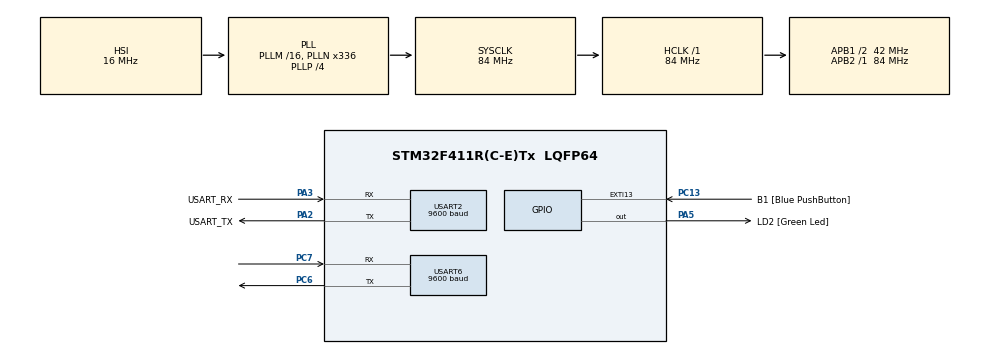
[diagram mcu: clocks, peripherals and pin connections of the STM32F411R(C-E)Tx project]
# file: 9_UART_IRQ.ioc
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Mcu.Family=STM32F4
Mcu.Name=STM32F411R(C-E)Tx
Mcu.Package=LQFP64
NVIC.PriorityGroup=NVIC_PRIORITYGROUP_0
NVIC.USART6_IRQn=true\:0\:0\:false\:false\:true\:true\:true
PA13.GPIO_Label=TMS
PA13.Mode=Serial_Wire
PA13.Signal=SYS_JTMS-SWDIO
PA14.GPIO_Label=TCK
PA14.Mode=Serial_Wire
PA14.Signal=SYS_JTCK-SWCLK
PA2.GPIO_Label=USART_TX
PA2.Mode=Asynchronous
PA2.Signal=USART2_TX
PA3.GPIO_Label=USART_RX
PA3.Mode=Asynchronous
PA3.Signal=USART2_RX
PA5.GPIO_Label=LD2 [Green Led]
PA5.Signal=GPIO_Output
PB3.GPIO_Label=SWO
PB3.Signal=SYS_JTDO-SWO
PC13-ANTI_TAMP.GPIO_Label=B1 [Blue PushButton]
PC13-ANTI_TAMP.GPIO_ModeDefaultEXTI=GPIO_MODE_IT_FALLING
PC13-ANTI_TAMP.Signal=GPXTI13
PC14-OSC32_IN.Mode=LSE-External-Oscillator
PC14-OSC32_IN.Signal=RCC_OSC32_IN
PC15-OSC32_OUT.Mode=LSE-External-Oscillator
PC15-OSC32_OUT.Signal=RCC_OSC32_OUT
PC6.Mode=Asynchronous
PC6.Signal=USART6_TX
PC7.Mode=Asynchronous
PC7.Signal=USART6_RX
PH0\ -\ OSC_IN.Mode=HSE-External-Clock-Source
PH0\ -\ OSC_IN.Signal=RCC_OSC_IN
PH1\ -\ OSC_OUT.Mode=HSE-External-Clock-Source
PH1\ -\ OSC_OUT.Signal=RCC_OSC_OUT
ProjectManager.HeapSize=0x200
ProjectManager.StackSize=0x400
ProjectManager.TargetToolchain=STM32CubeIDE
RCC.48MHZClocksFreq_Value=84000000
RCC.AHBFreq_Value=84000000
RCC.APB1CLKDivider=RCC_HCLK_DIV2
RCC.APB1Freq_Value=42000000
RCC.APB1TimFreq_Value=84000000
RCC.APB2Freq_Value=84000000
RCC.APB2TimFreq_Value=84000000
RCC.CortexFreq_Value=84000000
RCC.FLatency-AdvancedSettings=FLASH_LATENCY_2
RCC.HCLKFreq_Value=84000000
RCC.HSE_VALUE=8000000
RCC.HSI_VALUE=16000000
RCC.PLLN=336
RCC.PLLP=RCC_PLLP_DIV4
RCC.SYSCLKFreq_VALUE=84000000
RCC.SYSCLKSource=RCC_SYSCLKSOURCE_PLLCLK
RCC.VCOOutputFreq_Value=336000000
USART2.BaudRate=9600
USART2.VirtualMode=VM_ASYNC
USART6.BaudRate=9600
USART6.VirtualMode=VM_ASYNC
board=NUCLEO-F411RE

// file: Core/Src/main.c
/* USER CODE BEGIN Header */
/**
  ******************************************************************************
  * @file           : main.c
  * @brief          : Main program body
  ******************************************************************************
  * @attention
  *
  * Copyright (c) 2022 STMicroelectronics.
  * All rights reserved.
  *
  * This software is licensed under terms that can be found in the LICENSE file
  * in the root directory of this software component.
  * If no LICENSE file comes with this software, it is provided AS-IS.
  *
  ******************************************************************************
  */
/* USER CODE END Header */
#include "main.h"
#include "usart.h"
#include "gpio.h"

/* USER CODE BEGIN Includes */
#include <stdio.h>
#include <string.h>
/* USER CODE END Includes */

void SystemClock_Config(void);
//BLABLABLABLA

/* USER CODE BEGIN 0 */
uint8_t cmdBuffer[1];
uint8_t onMsg[] = "Turned LED on\n";
uint8_t offMsg[] = "Turned LED off\n";
uint8_t errorCmd[] = "Invalid input, input 1 or 0\n";
/* USER CODE END 0 */

int main(void)
{

  /* MCU Configuration--------------------------------------------------------*/

  /* Reset of all peripherals, Initializes the Flash interface and the Systick. */
  HAL_Init();

  /* Configure the system clock */
  SystemClock_Config();

  /* Initialize all configured peripherals */
  MX_GPIO_Init();
  MX_USART2_UART_Init();
  MX_USART6_UART_Init();
  /* USER CODE BEGIN 2 */

  //uint8_t ledCmd_On[] = {'O', 'N'};
  //uint8_t ledCmd_Off[] = {'O', 'F', 'F'};
  /* USER CODE END 2 */

  /* Infinite loop */
  while (1)
  {

    /* USER CODE BEGIN 3 */
	  char msg[] = "\rI am working\n";
	  HAL_UART_Transmit(&huart2, (uint8_t*) msg, strlen(msg), HAL_MAX_DELAY);
	  HAL_UART_Transmit(&huart6, (uint8_t*) msg, strlen(msg), HAL_MAX_DELAY);
	  HAL_Delay(200);
  }
  /* USER CODE END 3 */
}

void SystemClock_Config(void)
{
  RCC_OscInitTypeDef RCC_OscInitStruct = {0};
  RCC_ClkInitTypeDef RCC_ClkInitStruct = {0};

  /** Configure the main internal regulator output voltage
  */
  __HAL_RCC_PWR_CLK_ENABLE();
  __HAL_PWR_VOLTAGESCALING_CONFIG(PWR_REGULATOR_VOLTAGE_SCALE1);
  /** Initializes the RCC Oscillators according to the specified parameters
  * in the RCC_OscInitTypeDef structure.
  */
  RCC_OscInitStruct.OscillatorType = RCC_OSCILLATORTYPE_HSI;
  RCC_OscInitStruct.HSIState = RCC_HSI_ON;
  RCC_OscInitStruct.HSICalibrationValue = RCC_HSICALIBRATION_DEFAULT;
  RCC_OscInitStruct.PLL.PLLState = RCC_PLL_ON;
  RCC_OscInitStruct.PLL.PLLSource = RCC_PLLSOURCE_HSI;
  RCC_OscInitStruct.PLL.PLLM = 16;
  RCC_OscInitStruct.PLL.PLLN = 336;
  RCC_OscInitStruct.PLL.PLLP = RCC_PLLP_DIV4;
  RCC_OscInitStruct.PLL.PLLQ = 4;
  if (HAL_RCC_OscConfig(&RCC_OscInitStruct) != HAL_OK)
  {
    Error_Handler();
  }
  /** Initializes the CPU, AHB and APB buses clocks
  */
  RCC_ClkInitStruct.ClockType = RCC_CLOCKTYPE_HCLK|RCC_CLOCKTYPE_SYSCLK
                              |RCC_CLOCKTYPE_PCLK1|RCC_CLOCKTYPE_PCLK2;
  RCC_ClkInitStruct.SYSCLKSource = RCC_SYSCLKSOURCE_PLLCLK;
  RCC_ClkInitStruct.AHBCLKDivider = RCC_SYSCLK_DIV1;
  RCC_ClkInitStruct.APB1CLKDivider = RCC_HCLK_DIV2;
  RCC_ClkInitStruct.APB2CLKDivider = RCC_HCLK_DIV1;

  if (HAL_RCC_ClockConfig(&RCC_ClkInitStruct, FLASH_LATENCY_2) != HAL_OK)
  {
    Error_Handler();
  }
}

/* USER CODE BEGIN 4 */
void HAL_UART_RxCpltCallback(UART_HandleTypeDef *UartHandle)
{
	char msg[] = "\rRxCpltCallback\n";
	HAL_UART_Transmit(&huart2, (uint8_t*) msg, strlen(msg), HAL_MAX_DELAY);
	HAL_UART_Transmit(&huart6, (uint8_t*) msg, strlen(msg), HAL_MAX_DELAY);
	if (UartHandle->Instance == huart6.Instance)
	{
	    HAL_UART_Receive_IT(&huart6, cmdBuffer, 1);
	    if (cmdBuffer[0] == '1'){
	    	HAL_GPIO_WritePin(LD2_GPIO_Port, LD2_Pin, 1);
	    	HAL_UART_Transmit(&huart6, onMsg ,sizeof(onMsg)/sizeof(uint8_t), 100);
	    }else if (cmdBuffer[0] == '0'){
	    	HAL_GPIO_WritePin(LD2_GPIO_Port, LD2_Pin, 0);
	    	HAL_UART_Transmit(&huart6, offMsg ,sizeof(offMsg)/sizeof(uint8_t), 100);
	    }
	    else{
	    	HAL_UART_Transmit(&huart6, errorCmd, sizeof(errorCmd)/sizeof(uint8_t), 100);
	    }
	}
}

/* USER CODE END 4 */

void Error_Handler(void)
{
  __disable_irq();
  while (1)
  {
  }
}
